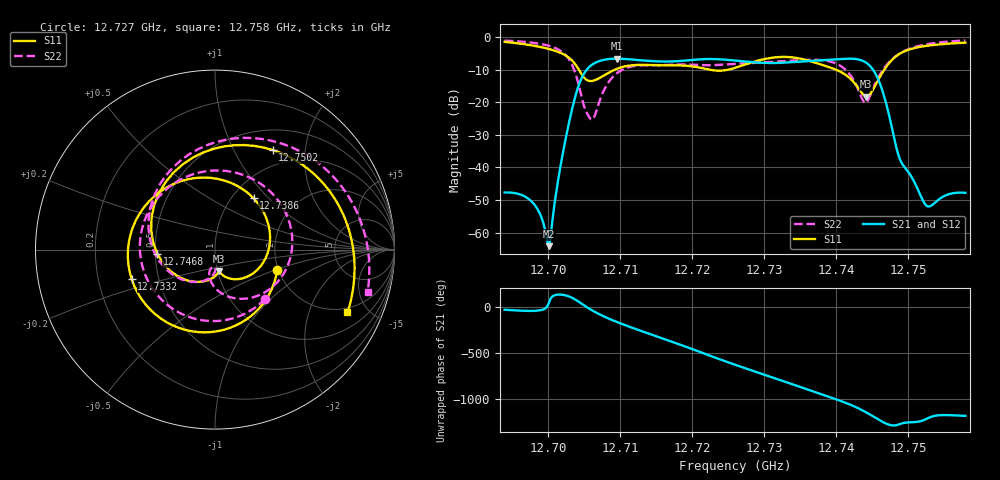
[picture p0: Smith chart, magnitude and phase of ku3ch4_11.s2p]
#  HZ  S  RI  R  50.00
! Rohde & Schwarz ZVA50 2Ports - Version 3.70 - 1145.1110k50 SN: 100192
! Date: 2025-10-24 10:52:01
! Measurements: S11 S21 S12 S22
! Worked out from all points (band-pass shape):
!   321 points, 12.694 GHz to 12.758 GHz, reference 50 ohm
!   highest |S21| = -6.66 dB at 12.7096 GHz (marker M1); lowest = -64.1 dB at 12.7002 GHz (marker M2)
!   |S21| within 3 dB of the highest: 12.70556 GHz to 12.74504 GHz (39.48 MHz wide, 0.31 % of centre)
!   lowest |S11| = -18.3 dB at 12.7442 GHz (marker M3), VSWR 1.28, Z = 50.9 - j12.3 ohm
!   |S11| at or under -10 dB: 12.7043 GHz to 12.70936 GHz (5.064 MHz wide, 0.0399 % of centre); 12.72237 GHz to 12.72514 GHz (2.764 MHz wide, 0.0217 % of centre); 12.73996 GHz to 12.74675 GHz (6.795 MHz wide, 0.0533 % of centre)
!   |S22| runs from -25.3 to -1.1 dB; largest |S21 - S12| = 0.0084
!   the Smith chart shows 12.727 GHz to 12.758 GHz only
!   S11 on the Smith chart (normalised r, x): 12.727 GHz: 1.97, -0.52; 12.7332 GHz: 0.35, -0.15; 12.7386 GHz: 1.25, +0.82; 12.7468 GHz: 0.51, -0.03; 12.7502 GHz: 0.77, +1.44; 12.758 GHz: 1.74, -3.66
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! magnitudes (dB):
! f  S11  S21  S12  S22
! 12.694 GHz  -1.5  -47.7  -47.6  -1.1
! 12.698 GHz  -2.7  -51.0  -50.9  -1.8
! 12.7002 GHz  -3.7  -64.1  -63.9  -2.8
! 12.7024 GHz  -5.6  -32.1  -32.0  -5.4
! 12.7036 GHz  -7.8  -20.1  -20.0  -9.7
! 12.7048 GHz  -11.8  -12.2  -12.1  -19.4
! 12.7062 GHz  -13.5  -8.4  -8.3  -25.3
! 12.7096 GHz  -9.8  -6.7  -6.6  -11.1
! 12.7154 GHz  -8.7  -7.5  -7.4  -8.7
! 12.726 GHz  -9.5  -7.2  -7.1  -8.3
! 12.727 GHz  -8.8  -7.5  -7.4  -8.2
! 12.7332 GHz  -6.1  -7.8  -7.7  -7.3
! 12.7368 GHz  -7.7  -7.3  -7.2  -7.0
! 12.7386 GHz  -8.9  -7.1  -7.0  -7.3
! 12.7416 GHz  -12.0  -6.7  -6.6  -10.6
! 12.7442 GHz  -18.3  -7.9  -7.8  -20.2
! 12.7468 GHz  -9.8  -18.8  -18.7  -9.3
! 12.7474 GHz  -8.0  -24.0  -23.9  -7.7
! 12.7488 GHz  -5.3  -36.9  -36.8  -5.2
! 12.7502 GHz  -3.9  -41.8  -41.7  -3.7
! 12.7528 GHz  -2.7  -52.0  -51.9  -2.2
! 12.758 GHz  -1.8  -47.8  -47.7  -1.1
